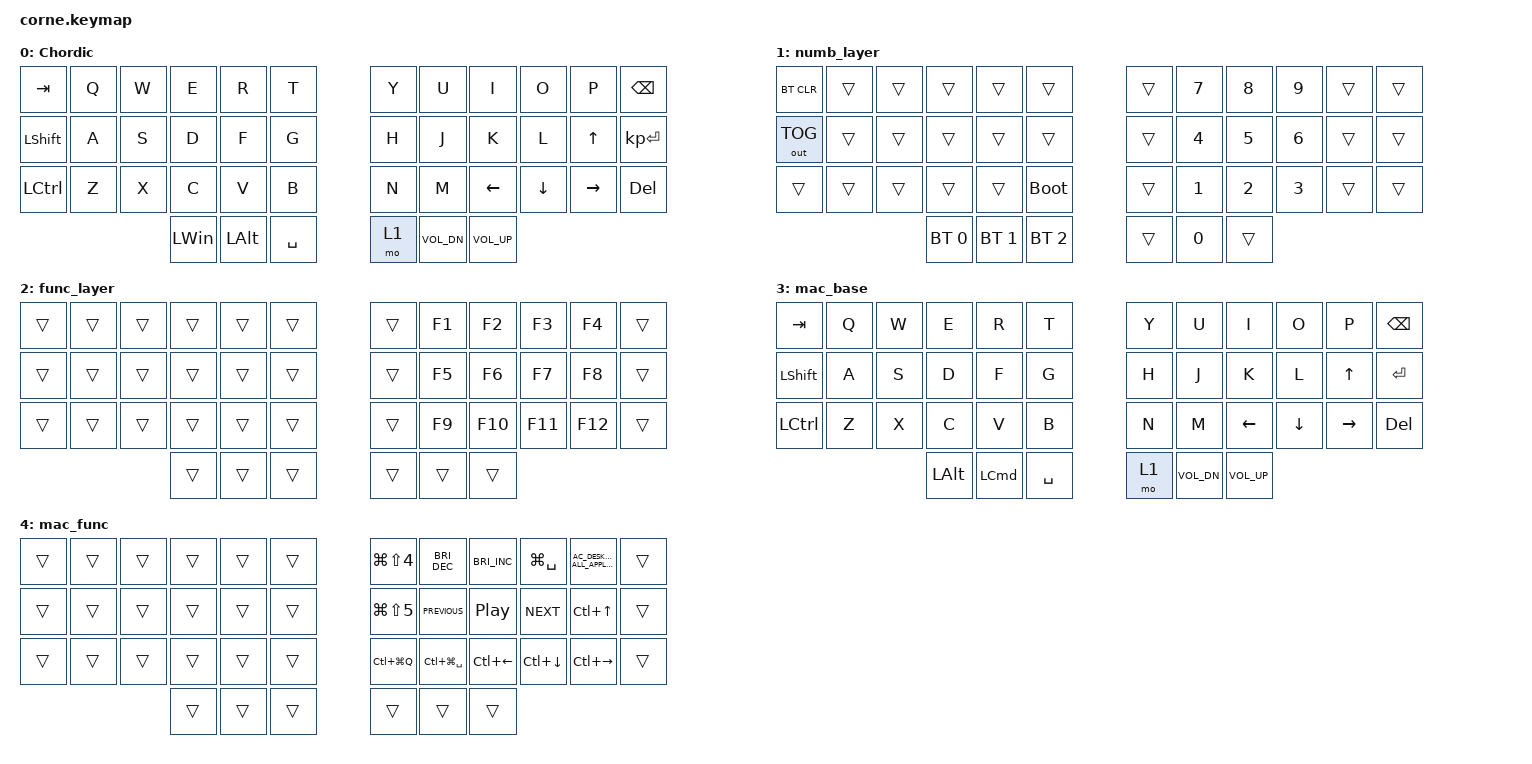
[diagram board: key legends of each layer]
/*
 * Copyright (c) 2020 The ZMK Contributors
 *
 * SPDX-License-Identifier: MIT
 */

#include <behaviors.dtsi>
#include <dt-bindings/zmk/bt.h>
#include <dt-bindings/zmk/outputs.h>
#include <dt-bindings/zmk/keys.h>

/ {
    combos {
        compatible = "zmk,combos";

        activate_func_layer {
            bindings = <&mo 2>;
            key-positions = <1 2>;
            layers = <0 1>;
        };

        dot {
            bindings = <&kp PERIOD>;
            key-positions = <21 22>;
        };

        colon {
            bindings = <&kp COLON>;
            key-positions = <19 21 22>;
        };

        apostrophe {
            bindings = <&kp APOSTROPHE>;
            key-positions = <21 8>;
        };

        comma {
            bindings = <&kp COMMA>;
            key-positions = <21 20>;
        };

        semicolon {
            bindings = <&kp SEMICOLON>;
            key-positions = <19 20 21>;
        };

        double_quote {
            bindings = <&kp DOUBLE_QUOTES>;
            key-positions = <7 21>;
        };

        underscore {
            bindings = <&kp UNDERSCORE>;
            key-positions = <31 30>;
        };

        equal {
            bindings = <&kp EQUAL>;
            key-positions = <6 7>;
        };

        minus {
            bindings = <&kp MINUS>;
            key-positions = <18 19>;
        };

        plus {
            bindings = <&kp PLUS>;
            key-positions = <18 19 20>;
        };

        left_bracket {
            bindings = <&kp LEFT_BRACKET>;
            key-positions = <39 7>;
        };

        right_bracket {
            bindings = <&kp RIGHT_BRACKET>;
            key-positions = <39 8>;
        };

        left_parenthesis {
            bindings = <&kp LEFT_PARENTHESIS>;
            key-positions = <39 19>;
        };

        right_parenthesis {
            bindings = <&kp RIGHT_PARENTHESIS>;
            key-positions = <39 20>;
        };

        left_brace {
            bindings = <&kp LEFT_BRACE>;
            key-positions = <39 31>;
        };

        right_brace {
            bindings = <&kp RIGHT_BRACE>;
            key-positions = <39 32>;
        };

        slash {
            bindings = <&kp SLASH>;
            key-positions = <31 20 9>;
        };

        less {
            bindings = <&kp LESS_THAN>;
            key-positions = <41 19 8>;
        };

        tilde {
            bindings = <&kp TILDE>;
            key-positions = <19 10>;
        };

        backslash {
            bindings = <&kp BACKSLASH>;
            key-positions = <7 20 33>;
        };

        greater {
            bindings = <&kp GREATER_THAN>;
            key-positions = <7 20 39>;
        };

        grave {
            bindings = <&kp GRAVE>;
            key-positions = <6 19>;
        };

        caret {
            bindings = <&kp CARET>;
            key-positions = <19 8 21>;
        };

        pipe {
            bindings = <&kp PIPE>;
            key-positions = <40 19 8>;
        };

        percent {
            bindings = <&kp PERCENT>;
            key-positions = <7 33>;
        };

        exclamation {
            bindings = <&kp EXCLAMATION>;
            key-positions = <7 8 21>;
        };

        question {
            bindings = <&kp QUESTION>;
            key-positions = <19 20 9>;
        };

        dollar {
            bindings = <&kp DOLLAR>;
            key-positions = <31 32 9>;
        };

        at_sign {
            bindings = <&kp AT_SIGN>;
            key-positions = <7 20 21>;
        };

        asterisk {
            bindings = <&kp ASTERISK>;
            key-positions = <30 31 32>;
        };

        hash {
            bindings = <&kp HASH>;
            key-positions = <6 7 8>;
        };

        ampersand {
            bindings = <&kp AMPERSAND>;
            key-positions = <18 20>;
        };

        home {
            bindings = <&kp HOME>;
            key-positions = <7 8 9>;
        };

        page_up {
            bindings = <&kp PG_UP>;
            key-positions = <18 21>;
        };

        page_down {
            bindings = <&kp PG_DN>;
            key-positions = <30 33>;
        };

        end {
            bindings = <&kp END>;
            key-positions = <8 9 10>;
        };

        insert {
            bindings = <&kp INSERT>;
            key-positions = <40 41>;
        };

        reset {
            bindings = <&kp C_RESET>;
            key-positions = <1 14 27 16 5>;
        };

        print_screen {
            bindings = <&kp PRINTSCREEN>;
            key-positions = <39 10>;
        };

        mute {
            bindings = <&kp C_MUTE>;
            key-positions = <40 41 39>;
        };

        activate_mac_layer {
            bindings = <&tog 3>;
            key-positions = <25 26>;
        };

        activate_mac_func_layer {
            bindings = <&mo 4>;
            key-positions = <1 2>;
            layers = <3>;
        };
    };

    keymap {
        compatible = "zmk,keymap";

        Chordic {
            // -----------------------------------------------------------------------------------------
            // |  TAB |  Q  |  W  |  E  |  R  |  T  |   |  Y  |  U   |  I  |  O  |  P  | BKSP |
            // | CTRL |  A  |  S  |  D  |  F  |  G  |   |  H  |  J   |  K  |  L  |  ;  |  '   |
            // | SHFT |  Z  |  X  |  C  |  V  |  B  |   |  N  |  M   |  ,  |  .  |  /  | ESC  |
            //                    | GUI | LWR | SPC |   | ENT | RSE  | ALT |

            bindings = <
&kp TAB         &kp Q  &kp W  &kp E         &kp R         &kp T        &kp Y  &kp U         &kp I            &kp O     &kp P         &kp BACKSPACE
&kp LEFT_SHIFT  &kp A  &kp S  &kp D         &kp F         &kp G        &kp H  &kp J         &kp K            &kp L     &kp UP_ARROW  &kp KP_ENTER
&kp LCTRL       &kp Z  &kp X  &kp C         &kp V         &kp B        &kp N  &kp M         &kp LEFT         &kp DOWN  &kp RIGHT     &kp DELETE
                              &kp LEFT_WIN  &kp LEFT_ALT  &kp SPACE    &mo 1  &kp C_VOL_DN  &kp C_VOLUME_UP
            >;
        };

        numb_layer {
            bindings = <
                        &bt BT_CLR  &trans  &trans  &trans  &trans  &trans    &trans  &kp N7  &kp N8  &kp N9  &trans  &trans
                        &out OUT_TOG  &trans  &trans  &trans  &trans  &trans    &trans  &kp N4  &kp N5  &kp N6  &trans  &trans
                        &trans  &trans  &trans  &trans  &trans  &bootloader    &trans  &kp N1  &kp N2  &kp N3  &trans  &trans
                                        &bt BT_SEL 0  &bt BT_SEL 1  &bt BT_SEL 2    &trans  &kp N0  &trans
            >;
        };

        func_layer {
            bindings = <
&trans  &trans  &trans  &trans  &trans  &trans    &trans  &kp F1  &kp F2   &kp F3   &kp F4   &trans
&trans  &trans  &trans  &trans  &trans  &trans    &trans  &kp F5  &kp F6   &kp F7   &kp F8   &trans
&trans  &trans  &trans  &trans  &trans  &trans    &trans  &kp F9  &kp F10  &kp F11  &kp F12  &trans
                        &trans  &trans  &trans    &trans  &trans  &trans
            >;
        };

        mac_base {
            bindings = <
&kp TAB         &kp Q  &kp W  &kp E         &kp R             &kp T        &kp Y  &kp U         &kp I            &kp O     &kp P         &kp BACKSPACE
&kp LEFT_SHIFT  &kp A  &kp S  &kp D         &kp F             &kp G        &kp H  &kp J         &kp K            &kp L     &kp UP_ARROW  &kp RETURN
&kp LCTRL       &kp Z  &kp X  &kp C         &kp V             &kp B        &kp N  &kp M         &kp LEFT         &kp DOWN  &kp RIGHT     &kp DELETE
                              &kp LEFT_ALT  &kp LEFT_COMMAND  &kp SPACE    &mo 1  &kp C_VOL_DN  &kp C_VOLUME_UP
            >;
        };

        mac_func {
            bindings = <
&trans  &trans  &trans  &trans  &trans  &trans    &kp LG(LS(NUMBER_4))  &kp C_BRIGHTNESS_DEC  &kp C_BRIGHTNESS_INC  &kp LG(SPACE)  &kp C_AC_DESKTOP_SHOW_ALL_APPLICATIONS  &trans
&trans  &trans  &trans  &trans  &trans  &trans    &kp LG(LS(NUMBER_5))  &kp C_PREVIOUS        &kp C_PLAY_PAUSE      &kp C_NEXT     &kp LC(UP)                              &trans
&trans  &trans  &trans  &trans  &trans  &trans    &kp LC(LG(Q))         &kp LC(LG(SPACE))     &kp LC(LEFT)          &kp LC(DOWN)   &kp LC(RIGHT)                           &trans
                        &trans  &trans  &trans    &trans                &trans                &trans
            >;
        };
    };
};
